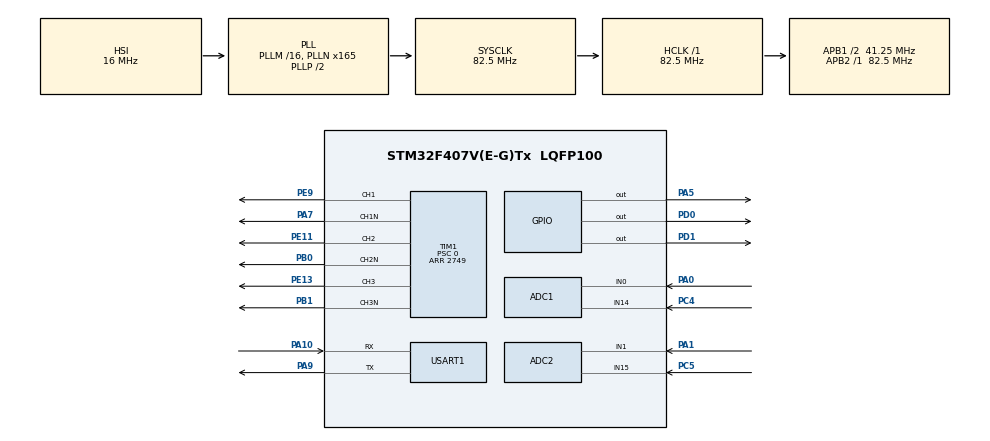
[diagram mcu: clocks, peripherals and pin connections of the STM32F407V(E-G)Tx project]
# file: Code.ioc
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ADC1.Channel-0\#ChannelRegularConversion=ADC_CHANNEL_14
ADC1.Channel-1\#ChannelInjectedConversion=ADC_CHANNEL_0
ADC1.ContinuousConvMode=ENABLE
ADC1.EOCSelection=ADC_EOC_SEQ_CONV
ADC1.ExternalTrigInjecConv=ADC_EXTERNALTRIGINJECCONV_T1_TRGO
ADC1.ExternalTrigInjecConvEdge=ADC_EXTERNALTRIGINJECCONVEDGE_RISING
ADC1.InjNumberOfConversion=1
ADC1.InjectedOffset-1\#ChannelInjectedConversion=0
ADC1.InjectedRank-1\#ChannelInjectedConversion=1
ADC1.Mode=ADC_DUALMODE_INJECSIMULT
ADC1.NbrOfConversion=1
ADC1.NbrOfConversionFlag=1
ADC1.Rank-0\#ChannelRegularConversion=1
ADC1.SamplingTime-0\#ChannelRegularConversion=ADC_SAMPLETIME_3CYCLES
ADC1.SamplingTime-1\#ChannelInjectedConversion=ADC_SAMPLETIME_15CYCLES
ADC1.master=1
ADC2.Channel-0\#ChannelRegularConversion=ADC_CHANNEL_15
ADC2.Channel-1\#ChannelInjectedConversion=ADC_CHANNEL_1
ADC2.InjNumberOfConversion=1
ADC2.InjectedOffset-1\#ChannelInjectedConversion=0
ADC2.InjectedRank-1\#ChannelInjectedConversion=1
ADC2.Mode=ADC_DUALMODE_INJECSIMULT
ADC2.NbrOfConversionFlag=1
ADC2.Rank-0\#ChannelRegularConversion=1
ADC2.SamplingTime-0\#ChannelRegularConversion=ADC_SAMPLETIME_3CYCLES
ADC2.SamplingTime-1\#ChannelInjectedConversion=ADC_SAMPLETIME_15CYCLES
Mcu.Family=STM32F4
Mcu.Name=STM32F407V(E-G)Tx
Mcu.Package=LQFP100
NVIC.ADC_IRQn=true\:0\:0\:false\:false\:true\:true\:true\:true
NVIC.PriorityGroup=NVIC_PRIORITYGROUP_4
NVIC.TIM1_UP_TIM10_IRQn=true\:1\:0\:true\:false\:true\:true\:true\:true
NVIC.TIM2_IRQn=true\:1\:0\:true\:false\:true\:true\:true\:true
NVIC.USART1_IRQn=true\:2\:0\:true\:false\:true\:true\:true\:true
PA0-WKUP.Signal=ADCx_IN0
PA1.Signal=ADCx_IN1
PA10.Mode=Asynchronous
PA10.Signal=USART1_RX
PA13.Mode=Serial_Wire
PA13.Signal=SYS_JTMS-SWDIO
PA14.Mode=Serial_Wire
PA14.Signal=SYS_JTCK-SWCLK
PA5.Signal=GPIO_Output
PA7.Mode=PWM Generation1 CH1 CH1N
PA7.Signal=TIM1_CH1N
PA9.Mode=Asynchronous
PA9.Signal=USART1_TX
PB0.Mode=PWM Generation2 CH2 CH2N
PB0.Signal=TIM1_CH2N
PB1.Mode=PWM Generation3 CH3 CH3N
PB1.Signal=TIM1_CH3N
PC4.Signal=ADCx_IN14
PC5.Signal=ADCx_IN15
PD0.Signal=GPIO_Output
PD1.Signal=GPIO_Output
PE11.Signal=S_TIM1_CH2
PE13.Signal=S_TIM1_CH3
PE9.Signal=S_TIM1_CH1
PH0-OSC_IN.Mode=HSE-External-Oscillator
PH0-OSC_IN.Signal=RCC_OSC_IN
PH1-OSC_OUT.Mode=HSE-External-Oscillator
PH1-OSC_OUT.Signal=RCC_OSC_OUT
ProjectManager.HeapSize=0x200
ProjectManager.StackSize=0x400
ProjectManager.TargetToolchain=CMake
RCC.48MHZClocksFreq_Value=41250000
RCC.AHBFreq_Value=82500000
RCC.APB1CLKDivider=RCC_HCLK_DIV2
RCC.APB1Freq_Value=41250000
RCC.APB1TimFreq_Value=82500000
RCC.APB2Freq_Value=82500000
RCC.APB2TimFreq_Value=82500000
RCC.CortexFreq_Value=82500000
RCC.HCLKFreq_Value=82500000
RCC.HSE_VALUE=25000000
RCC.HSI_VALUE=16000000
RCC.LSE_VALUE=32768
RCC.PLLN=165
RCC.SYSCLKFreq_VALUE=82500000
RCC.SYSCLKSource=RCC_SYSCLKSOURCE_PLLCLK
RCC.VCOOutputFreq_Value=165000000
SH.ADCx_IN0.0=ADC1_IN0,IN0
SH.ADCx_IN1.0=ADC2_IN1,IN1
SH.ADCx_IN14.0=ADC1_IN14,IN14
SH.ADCx_IN15.0=ADC2_IN15,IN15
SH.S_TIM1_CH1.0=TIM1_CH1,PWM Generation1 CH1 CH1N
SH.S_TIM1_CH2.0=TIM1_CH2,PWM Generation2 CH2 CH2N
SH.S_TIM1_CH3.0=TIM1_CH3,PWM Generation3 CH3 CH3N
TIM1.AutoReloadPreload=TIM_AUTORELOAD_PRELOAD_ENABLE
TIM1.Channel-PWM\ Generation1\ CH1\ CH1N=TIM_CHANNEL_1
TIM1.Channel-PWM\ Generation2\ CH2\ CH2N=TIM_CHANNEL_2
TIM1.Channel-PWM\ Generation3\ CH3\ CH3N=TIM_CHANNEL_3
TIM1.CounterMode=TIM_COUNTERMODE_CENTERALIGNED3
TIM1.DeadTime=0xA0
TIM1.OCIdleState_1=TIM_OCIDLESTATE_RESET
TIM1.OCIdleState_2=TIM_OCIDLESTATE_RESET
TIM1.OCIdleState_3=TIM_OCIDLESTATE_RESET
TIM1.OCMode_PWM-PWM\ Generation1\ CH1\ CH1N=TIM_OCMODE_PWM2
TIM1.OCMode_PWM-PWM\ Generation2\ CH2\ CH2N=TIM_OCMODE_PWM2
TIM1.OCMode_PWM-PWM\ Generation3\ CH3\ CH3N=TIM_OCMODE_PWM2
TIM1.Period=2749
TIM1.Prescaler=0
TIM1.Pulse-PWM\ Generation1\ CH1\ CH1N=0
TIM1.Pulse-PWM\ Generation2\ CH2\ CH2N=0
TIM1.Pulse-PWM\ Generation3\ CH3\ CH3N=1374
TIM1.RepetitionCounter=1
TIM1.TIM_MasterOutputTrigger=TIM_TRGO_UPDATE
TIM1.TIM_MasterSlaveMode=TIM_MASTERSLAVEMODE_DISABLE
TIM2.AutoReloadPreload=TIM_AUTORELOAD_PRELOAD_ENABLE
TIM2.Period=8249
TIM2.Prescaler=9
TIM2.TIM_MasterOutputTrigger=TIM_TRGO_UPDATE
USART1.OverSampling=UART_OVERSAMPLING_16
USART1.VirtualMode=VM_ASYNC
VP_TIM1_VS_ClockSourceINT.Mode=Internal
VP_TIM2_VS_ClockSourceINT.Mode=Internal
board=custom

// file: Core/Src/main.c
/* USER CODE BEGIN Header */
/**
  ******************************************************************************
  * @file           : main.c
  * @brief          : Main program body
  ******************************************************************************
  * @attention
  *
  * Copyright (c) 2026 STMicroelectronics.
  * All rights reserved.
  *
  * This software is licensed under terms that can be found in the LICENSE file
  * in the root directory of this software component.
  * If no LICENSE file comes with this software, it is provided AS-IS.
  *
  ******************************************************************************
  */
/* USER CODE END Header */
#include "main.h"

/* USER CODE BEGIN Includes */
#include "Math_lib.h"
#include "foc_typeds.h"
#include "Foc_Driver.h"
#include "stm32f407xx.h"
#include "stm32f4xx_hal.h"
#include "stm32f4xx_hal_adc.h"
#include "stm32f4xx_hal_adc_ex.h"
#include "stm32f4xx_hal_def.h"
#include "stm32f4xx_hal_gpio.h"
#include "stm32f4xx_hal_tim.h"
#include "stm32f4xx_hal_tim_ex.h"
#include "Upper.h"
#include "AS5600.h"
#include "MyI2C.h"

/* USER CODE END Includes */

/* USER CODE BEGIN PTD */
AS5600_Driver_t* myas5600;
MyI2C_Driver_t myi2c;
FOC_Driver_t* myMotor1;

/* USER CODE END PTD */

ADC_HandleTypeDef hadc1;
ADC_HandleTypeDef hadc2;

TIM_HandleTypeDef htim1;
TIM_HandleTypeDef htim2;

UART_HandleTypeDef huart1;

void SystemClock_Config(void);
static void MX_GPIO_Init(void);
static void MX_TIM1_Init(void);
static void MX_USART1_UART_Init(void);
static void MX_TIM2_Init(void);
static void MX_ADC1_Init(void);
static void MX_ADC2_Init(void);

/* USER CODE BEGIN 0 */
//PARA PWM硬件函数接口
void MyPwmSetFunc(Three_Phase_t* duty)
{
  __HAL_TIM_SET_COMPARE(&htim1, TIM_CHANNEL_1, (uint32_t)(duty->a * (htim1.Init.Period+1)));
  __HAL_TIM_SET_COMPARE(&htim1, TIM_CHANNEL_2, (uint32_t)(duty->b * (htim1.Init.Period+1)));
  __HAL_TIM_SET_COMPARE(&htim1, TIM_CHANNEL_3, (uint32_t)(duty->c * (htim1.Init.Period+1)));

}

//TODO 定时器中断函数
void HAL_TIM_PeriodElapsedCallback(TIM_HandleTypeDef *htim)
{
  if(htim==&htim2)
  {
      //PARA 位置环参数
    myMotor1->Site(myMotor1,0,1,0);
    myMotor1->site.State_OUT(&myMotor1->site,0.01,myMotor1->myas5600.Angle_now);
    //PARA 速度环参数
    myMotor1->Speed(myMotor1,2,0.2,0.01);
    myMotor1->speed.Speed_OUT(&myMotor1->speed,0.01,myMotor1->myas5600.Angle_Spped);
    //PARA 电流环参数
    myMotor1->id(myMotor1,0.2,0.5,0);
    myMotor1->iq(myMotor1,1,0.5,0.01);
  }
}

//TODO ADC中断
void HAL_ADCEx_InjectedConvCpltCallback(ADC_HandleTypeDef *hadc)
{
  /* 判断是否是ADC1 */
  if(hadc->Instance == ADC1)
  {
    //获取电流
    HAL_GPIO_TogglePin(GPIOA,GPIO_PIN_5);
    myMotor1->I_abc.a=HAL_ADCEx_InjectedGetValue(&hadc1, ADC_INJECTED_RANK_1);
    myMotor1->I_abc.b=HAL_ADCEx_InjectedGetValue(&hadc2, ADC_INJECTED_RANK_1);
    HAL_GPIO_TogglePin(GPIOA,GPIO_PIN_5);

    myMotor1->I_abc_ture.a=(myMotor1->I_abc.a-myMotor1->I_abc_offset.a)*3.3*50/(4095*4.02);
    myMotor1->I_abc_ture.b=(myMotor1->I_abc.b-myMotor1->I_abc_offset.b)*3.3*50/(4095*4.02);
    myMotor1->I_abc_ture.c=-(myMotor1->I_abc_ture.a+myMotor1->I_abc_ture.b);
    myMotor1->Run(myMotor1,0.005f);

  }
}

/* USER CODE END 0 */

int main(void)
{

  /* USER CODE BEGIN 1 */
  //TODO main

  //PARA FOC驱动接口
     FOC_HAL_t myMotor1_HAL={
    .SetPWM=MyPwmSetFunc
  };
  myMotor1=FOC_Create(7, 12, myMotor1_HAL);
  //PARA AS5600驱动接口
  AS5600_Create(&myMotor1->myas5600,0x01,0x00,0x0C,0x0D,0x36);
  MyI2C_Create(&myMotor1->myas5600.i2c,GPIOD,GPIO_PIN_0, GPIOD, GPIO_PIN_1);

    //TODO 电机驱动初始化
  myMotor1->Init(myMotor1);
  myMotor1->myas5600.Init(&myMotor1->myas5600);

  /* USER CODE END 1 */

  /* MCU Configuration--------------------------------------------------------*/

  /* Reset of all peripherals, Initializes the Flash interface and the Systick. */
  HAL_Init();

  /* Configure the system clock */
  SystemClock_Config();

  /* USER CODE BEGIN SysInit */
  __HAL_RCC_TIM1_CLK_ENABLE();
  /* USER CODE END SysInit */

  /* Initialize all configured peripherals */
  MX_GPIO_Init();
  MX_TIM1_Init();
  MX_USART1_UART_Init();
  MX_TIM2_Init();
  MX_ADC1_Init();
  MX_ADC2_Init();
  /* USER CODE BEGIN 2 */
  HAL_TIM_PWM_Init(&htim1);
  HAL_TIM_PWM_Start(&htim1, TIM_CHANNEL_1);
  HAL_TIMEx_PWMN_Start(&htim1, TIM_CHANNEL_1);
  HAL_TIM_PWM_Start(&htim1, TIM_CHANNEL_2);
  HAL_TIMEx_PWMN_Start(&htim1, TIM_CHANNEL_2);
  HAL_TIM_PWM_Start(&htim1, TIM_CHANNEL_3);
  HAL_TIMEx_PWMN_Start(&htim1, TIM_CHANNEL_3);

  HAL_TIM_PWM_Start(&htim1, TIM_CHANNEL_4);

  __HAL_TIM_MOE_ENABLE(&htim1);

  /* USER CODE END 2 */

  /* Infinite loop */
  /* USER CODE BEGIN WHILE */

  //TODO 校准代码
  myMotor1->Angle_zero_GET(myMotor1);

  // TODO ADC初始化
  HAL_ADC_Init(&hadc1);
  HAL_ADC_Init(&hadc2);
  //TODO 电流偏置
  myMotor1->Current_Calibration(myMotor1,&hadc1,&hadc2);
  //TODO ADC中断使能
  HAL_ADCEx_InjectedStart(&hadc1);
  HAL_ADCEx_InjectedStart(&hadc2);
  HAL_ADCEx_InjectedStart_IT(&hadc1);
  HAL_ADCEx_InjectedStart_IT(&hadc2);

  //定时器2中断使能
  HAL_TIM_Base_Start_IT(&htim2);

  //TODO while
  while (1)
  {
    /* USER CODE END WHILE */

    /* USER CODE BEGIN 3 */
  /*float angle_test;
  angle_test=myMotor1->myas5600.Angle_Spped;
  Float_send(&angle_test,&huart1);*/
  float I[3];
  I[0]=myMotor1->I_abc.a;
  I[1]=myMotor1->I_abc.b;
  I[2]=myMotor1->I_abc.c;
  Float_send(I,&huart1);
  //  myMotor1->Run(myMotor1,0.01f);

  }
  /* USER CODE END 3 */
}

void SystemClock_Config(void)
{
  RCC_OscInitTypeDef RCC_OscInitStruct = {0};
  RCC_ClkInitTypeDef RCC_ClkInitStruct = {0};

  /** Configure the main internal regulator output voltage
  */
  __HAL_RCC_PWR_CLK_ENABLE();
  __HAL_PWR_VOLTAGESCALING_CONFIG(PWR_REGULATOR_VOLTAGE_SCALE1);

  /** Initializes the RCC Oscillators according to the specified parameters
  * in the RCC_OscInitTypeDef structure.
  */
  RCC_OscInitStruct.OscillatorType = RCC_OSCILLATORTYPE_HSI;
  RCC_OscInitStruct.HSIState = RCC_HSI_ON;
  RCC_OscInitStruct.HSICalibrationValue = RCC_HSICALIBRATION_DEFAULT;
  RCC_OscInitStruct.PLL.PLLState = RCC_PLL_ON;
  RCC_OscInitStruct.PLL.PLLSource = RCC_PLLSOURCE_HSI;
  RCC_OscInitStruct.PLL.PLLM = 16;
  RCC_OscInitStruct.PLL.PLLN = 165;
  RCC_OscInitStruct.PLL.PLLP = RCC_PLLP_DIV2;
  RCC_OscInitStruct.PLL.PLLQ = 4;
  if (HAL_RCC_OscConfig(&RCC_OscInitStruct) != HAL_OK)
  {
    Error_Handler();
  }

  /** Initializes the CPU, AHB and APB buses clocks
  */
  RCC_ClkInitStruct.ClockType = RCC_CLOCKTYPE_HCLK|RCC_CLOCKTYPE_SYSCLK
                              |RCC_CLOCKTYPE_PCLK1|RCC_CLOCKTYPE_PCLK2;
  RCC_ClkInitStruct.SYSCLKSource = RCC_SYSCLKSOURCE_PLLCLK;
  RCC_ClkInitStruct.AHBCLKDivider = RCC_SYSCLK_DIV1;
  RCC_ClkInitStruct.APB1CLKDivider = RCC_HCLK_DIV2;
  RCC_ClkInitStruct.APB2CLKDivider = RCC_HCLK_DIV1;

  if (HAL_RCC_ClockConfig(&RCC_ClkInitStruct, FLASH_LATENCY_2) != HAL_OK)
  {
    Error_Handler();
  }
}

static void MX_ADC1_Init(void)
{

  ADC_MultiModeTypeDef multimode = {0};
  ADC_ChannelConfTypeDef sConfig = {0};
  ADC_InjectionConfTypeDef sConfigInjected = {0};

  /** Configure the global features of the ADC (Clock, Resolution, Data Alignment and number of conversion)
  */
  hadc1.Instance = ADC1;
  hadc1.Init.ClockPrescaler = ADC_CLOCK_SYNC_PCLK_DIV4;
  hadc1.Init.Resolution = ADC_RESOLUTION_12B;
  hadc1.Init.ScanConvMode = DISABLE;
  hadc1.Init.ContinuousConvMode = ENABLE;
  hadc1.Init.DiscontinuousConvMode = DISABLE;
  hadc1.Init.ExternalTrigConvEdge = ADC_EXTERNALTRIGCONVEDGE_NONE;
  hadc1.Init.ExternalTrigConv = ADC_SOFTWARE_START;
  hadc1.Init.DataAlign = ADC_DATAALIGN_RIGHT;
  hadc1.Init.NbrOfConversion = 1;
  hadc1.Init.DMAContinuousRequests = DISABLE;
  hadc1.Init.EOCSelection = ADC_EOC_SEQ_CONV;
  if (HAL_ADC_Init(&hadc1) != HAL_OK)
  {
    Error_Handler();
  }

  /** Configure the ADC multi-mode
  */
  multimode.Mode = ADC_DUALMODE_INJECSIMULT;
  multimode.TwoSamplingDelay = ADC_TWOSAMPLINGDELAY_5CYCLES;
  if (HAL_ADCEx_MultiModeConfigChannel(&hadc1, &multimode) != HAL_OK)
  {
    Error_Handler();
  }

  /** Configure for the selected ADC regular channel its corresponding rank in the sequencer and its sample time.
  */
  sConfig.Channel = ADC_CHANNEL_14;
  sConfig.Rank = 1;
  sConfig.SamplingTime = ADC_SAMPLETIME_3CYCLES;
  if (HAL_ADC_ConfigChannel(&hadc1, &sConfig) != HAL_OK)
  {
    Error_Handler();
  }

  /** Configures for the selected ADC injected channel its corresponding rank in the sequencer and its sample time
  */
  sConfigInjected.InjectedChannel = ADC_CHANNEL_0;
  sConfigInjected.InjectedRank = 1;
  sConfigInjected.InjectedNbrOfConversion = 1;
  sConfigInjected.InjectedSamplingTime = ADC_SAMPLETIME_15CYCLES;
  sConfigInjected.ExternalTrigInjecConvEdge = ADC_EXTERNALTRIGINJECCONVEDGE_RISING;
  sConfigInjected.ExternalTrigInjecConv = ADC_EXTERNALTRIGINJECCONV_T1_TRGO;
  sConfigInjected.AutoInjectedConv = DISABLE;
  sConfigInjected.InjectedDiscontinuousConvMode = DISABLE;
  sConfigInjected.InjectedOffset = 0;
  if (HAL_ADCEx_InjectedConfigChannel(&hadc1, &sConfigInjected) != HAL_OK)
  {
    Error_Handler();
  }

}

static void MX_ADC2_Init(void)
{

  ADC_ChannelConfTypeDef sConfig = {0};
  ADC_InjectionConfTypeDef sConfigInjected = {0};

  /** Configure the global features of the ADC (Clock, Resolution, Data Alignment and number of conversion)
  */
  hadc2.Instance = ADC2;
  hadc2.Init.ClockPrescaler = ADC_CLOCK_SYNC_PCLK_DIV4;
  hadc2.Init.Resolution = ADC_RESOLUTION_12B;
  hadc2.Init.ScanConvMode = DISABLE;
  hadc2.Init.ContinuousConvMode = ENABLE;
  hadc2.Init.DiscontinuousConvMode = DISABLE;
  hadc2.Init.DataAlign = ADC_DATAALIGN_RIGHT;
  hadc2.Init.NbrOfConversion = 1;
  hadc2.Init.DMAContinuousRequests = DISABLE;
  hadc2.Init.EOCSelection = ADC_EOC_SINGLE_CONV;
  if (HAL_ADC_Init(&hadc2) != HAL_OK)
  {
    Error_Handler();
  }

  /** Configure for the selected ADC regular channel its corresponding rank in the sequencer and its sample time.
  */
  sConfig.Channel = ADC_CHANNEL_15;
  sConfig.Rank = 1;
  sConfig.SamplingTime = ADC_SAMPLETIME_3CYCLES;
  if (HAL_ADC_ConfigChannel(&hadc2, &sConfig) != HAL_OK)
  {
    Error_Handler();
  }

  /** Configures for the selected ADC injected channel its corresponding rank in the sequencer and its sample time
  */
  sConfigInjected.InjectedChannel = ADC_CHANNEL_1;
  sConfigInjected.InjectedRank = 1;
  sConfigInjected.InjectedNbrOfConversion = 1;
  sConfigInjected.InjectedSamplingTime = ADC_SAMPLETIME_15CYCLES;
  sConfigInjected.AutoInjectedConv = ENABLE;
  sConfigInjected.InjectedDiscontinuousConvMode = DISABLE;
  sConfigInjected.InjectedOffset = 0;
  if (HAL_ADCEx_InjectedConfigChannel(&hadc2, &sConfigInjected) != HAL_OK)
  {
    Error_Handler();
  }

}

static void MX_TIM1_Init(void)
{

  /* USER CODE BEGIN TIM1_Init 0 */
  //TODO MX_TIM1_Init
  /* USER CODE END TIM1_Init 0 */

  TIM_ClockConfigTypeDef sClockSourceConfig = {0};
  TIM_MasterConfigTypeDef sMasterConfig = {0};
  TIM_OC_InitTypeDef sConfigOC = {0};
  TIM_BreakDeadTimeConfigTypeDef sBreakDeadTimeConfig = {0};

  htim1.Instance = TIM1;
  htim1.Init.Prescaler = 0;
  htim1.Init.CounterMode = TIM_COUNTERMODE_CENTERALIGNED3;
  htim1.Init.Period = 2749;
  htim1.Init.ClockDivision = TIM_CLOCKDIVISION_DIV1;
  htim1.Init.RepetitionCounter = 1;
  htim1.Init.AutoReloadPreload = TIM_AUTORELOAD_PRELOAD_ENABLE;
  if (HAL_TIM_Base_Init(&htim1) != HAL_OK)
  {
    Error_Handler();
  }
  sClockSourceConfig.ClockSource = TIM_CLOCKSOURCE_INTERNAL;
  if (HAL_TIM_ConfigClockSource(&htim1, &sClockSourceConfig) != HAL_OK)
  {
    Error_Handler();
  }
  if (HAL_TIM_PWM_Init(&htim1) != HAL_OK)
  {
    Error_Handler();
  }
  sMasterConfig.MasterOutputTrigger = TIM_TRGO_UPDATE;
  sMasterConfig.MasterSlaveMode = TIM_MASTERSLAVEMODE_DISABLE;
  if (HAL_TIMEx_MasterConfigSynchronization(&htim1, &sMasterConfig) != HAL_OK)
  {
    Error_Handler();
  }
  sConfigOC.OCMode = TIM_OCMODE_PWM2;
  sConfigOC.Pulse = 0;
  sConfigOC.OCPolarity = TIM_OCPOLARITY_HIGH;
  sConfigOC.OCNPolarity = TIM_OCNPOLARITY_HIGH;
  sConfigOC.OCFastMode = TIM_OCFAST_DISABLE;
  sConfigOC.OCIdleState = TIM_OCIDLESTATE_RESET;
  sConfigOC.OCNIdleState = TIM_OCNIDLESTATE_RESET;
  if (HAL_TIM_PWM_ConfigChannel(&htim1, &sConfigOC, TIM_CHANNEL_1) != HAL_OK)
  {
    Error_Handler();
  }
  if (HAL_TIM_PWM_ConfigChannel(&htim1, &sConfigOC, TIM_CHANNEL_2) != HAL_OK)
  {
    Error_Handler();
  }
  sConfigOC.Pulse = 1374;
  if (HAL_TIM_PWM_ConfigChannel(&htim1, &sConfigOC, TIM_CHANNEL_3) != HAL_OK)
  {
    Error_Handler();
  }
  sBreakDeadTimeConfig.OffStateRunMode = TIM_OSSR_DISABLE;
  sBreakDeadTimeConfig.OffStateIDLEMode = TIM_OSSI_DISABLE;
  sBreakDeadTimeConfig.LockLevel = TIM_LOCKLEVEL_OFF;
  sBreakDeadTimeConfig.DeadTime = 0xA0;
  sBreakDeadTimeConfig.BreakState = TIM_BREAK_DISABLE;
  sBreakDeadTimeConfig.BreakPolarity = TIM_BREAKPOLARITY_HIGH;
  sBreakDeadTimeConfig.AutomaticOutput = TIM_AUTOMATICOUTPUT_DISABLE;
  if (HAL_TIMEx_ConfigBreakDeadTime(&htim1, &sBreakDeadTimeConfig) != HAL_OK)
  {
    Error_Handler();
  }
  HAL_TIM_MspPostInit(&htim1);

}

static void MX_TIM2_Init(void)
{

  TIM_ClockConfigTypeDef sClockSourceConfig = {0};
  TIM_MasterConfigTypeDef sMasterConfig = {0};

  htim2.Instance = TIM2;
  htim2.Init.Prescaler = 9;
  htim2.Init.CounterMode = TIM_COUNTERMODE_UP;
  htim2.Init.Period = 8249;
  htim2.Init.ClockDivision = TIM_CLOCKDIVISION_DIV1;
  htim2.Init.AutoReloadPreload = TIM_AUTORELOAD_PRELOAD_ENABLE;
  if (HAL_TIM_Base_Init(&htim2) != HAL_OK)
  {
    Error_Handler();
  }
  sClockSourceConfig.ClockSource = TIM_CLOCKSOURCE_INTERNAL;
  if (HAL_TIM_ConfigClockSource(&htim2, &sClockSourceConfig) != HAL_OK)
  {
    Error_Handler();
  }
  sMasterConfig.MasterOutputTrigger = TIM_TRGO_UPDATE;
  sMasterConfig.MasterSlaveMode = TIM_MASTERSLAVEMODE_DISABLE;
  if (HAL_TIMEx_MasterConfigSynchronization(&htim2, &sMasterConfig) != HAL_OK)
  {
    Error_Handler();
  }

}

static void MX_USART1_UART_Init(void)
{

  /* USER CODE BEGIN USART1_Init 0 */
  //TODO MX_USART1_UART_Init
  /* USER CODE END USART1_Init 0 */

  huart1.Instance = USART1;
  huart1.Init.BaudRate = 115200;
  huart1.Init.WordLength = UART_WORDLENGTH_8B;
  huart1.Init.StopBits = UART_STOPBITS_1;
  huart1.Init.Parity = UART_PARITY_NONE;
  huart1.Init.Mode = UART_MODE_TX_RX;
  huart1.Init.HwFlowCtl = UART_HWCONTROL_NONE;
  huart1.Init.OverSampling = UART_OVERSAMPLING_16;
  if (HAL_UART_Init(&huart1) != HAL_OK)
  {
    Error_Handler();
  }

}

static void MX_GPIO_Init(void)
{
  GPIO_InitTypeDef GPIO_InitStruct = {0};
  /* USER CODE BEGIN MX_GPIO_Init_1 */
  //TODO MX_GPIO_Init

  /* USER CODE END MX_GPIO_Init_1 */

  /* GPIO Ports Clock Enable */
  __HAL_RCC_GPIOH_CLK_ENABLE();
  __HAL_RCC_GPIOA_CLK_ENABLE();
  __HAL_RCC_GPIOC_CLK_ENABLE();
  __HAL_RCC_GPIOB_CLK_ENABLE();
  __HAL_RCC_GPIOE_CLK_ENABLE();
  __HAL_RCC_GPIOD_CLK_ENABLE();

  /*Configure GPIO pin Output Level */
  HAL_GPIO_WritePin(GPIOA, GPIO_PIN_5, GPIO_PIN_RESET);

  /*Configure GPIO pin Output Level */
  HAL_GPIO_WritePin(GPIOD, GPIO_PIN_0|GPIO_PIN_1, GPIO_PIN_RESET);

  /*Configure GPIO pin : PA5 */
  GPIO_InitStruct.Pin = GPIO_PIN_5;
  GPIO_InitStruct.Mode = GPIO_MODE_OUTPUT_PP;
  GPIO_InitStruct.Pull = GPIO_NOPULL;
  GPIO_InitStruct.Speed = GPIO_SPEED_FREQ_LOW;
  HAL_GPIO_Init(GPIOA, &GPIO_InitStruct);

  /*Configure GPIO pins : PD0 PD1 */
  GPIO_InitStruct.Pin = GPIO_PIN_0|GPIO_PIN_1;
  GPIO_InitStruct.Mode = GPIO_MODE_OUTPUT_PP;
  GPIO_InitStruct.Pull = GPIO_NOPULL;
  GPIO_InitStruct.Speed = GPIO_SPEED_FREQ_LOW;
  HAL_GPIO_Init(GPIOD, &GPIO_InitStruct);

  /* USER CODE BEGIN MX_GPIO_Init_2 */
  GPIO_InitStruct.Pin = GPIO_PIN_9|GPIO_PIN_11|GPIO_PIN_13;
  GPIO_InitStruct.Mode = GPIO_MODE_AF_PP;
  GPIO_InitStruct.Pull = GPIO_NOPULL;
  GPIO_InitStruct.Speed = GPIO_SPEED_FREQ_LOW;
  GPIO_InitStruct.Alternate = GPIO_AF1_TIM1;
  HAL_GPIO_Init(GPIOE, &GPIO_InitStruct);
  /* USER CODE END MX_GPIO_Init_2 */
}

void Error_Handler(void)
{
  __disable_irq();
  while (1)
  {
  }
}
